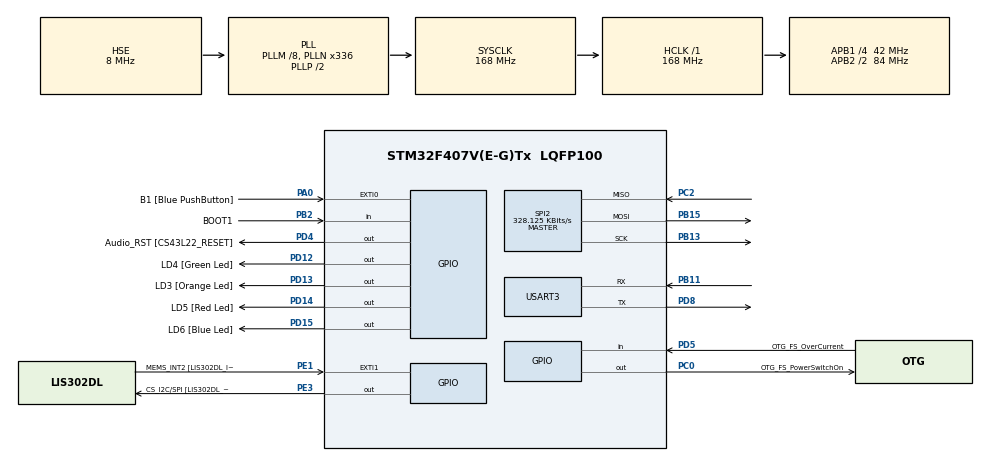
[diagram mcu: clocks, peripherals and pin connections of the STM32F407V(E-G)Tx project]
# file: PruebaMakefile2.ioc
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Dma.Request0=USART3_RX
Dma.Request1=USART3_TX
Dma.USART3_RX.0.Direction=DMA_PERIPH_TO_MEMORY
Dma.USART3_RX.0.FIFOMode=DMA_FIFOMODE_DISABLE
Dma.USART3_RX.0.Instance=DMA1_Stream1
Dma.USART3_RX.0.MemDataAlignment=DMA_MDATAALIGN_BYTE
Dma.USART3_RX.0.MemInc=DMA_MINC_ENABLE
Dma.USART3_RX.0.Mode=DMA_CIRCULAR
Dma.USART3_RX.0.PeriphDataAlignment=DMA_PDATAALIGN_BYTE
Dma.USART3_RX.0.PeriphInc=DMA_PINC_DISABLE
Dma.USART3_RX.0.Priority=DMA_PRIORITY_LOW
Dma.USART3_TX.1.Direction=DMA_MEMORY_TO_PERIPH
Dma.USART3_TX.1.FIFOMode=DMA_FIFOMODE_DISABLE
Dma.USART3_TX.1.Instance=DMA1_Stream3
Dma.USART3_TX.1.MemDataAlignment=DMA_MDATAALIGN_BYTE
Dma.USART3_TX.1.MemInc=DMA_MINC_ENABLE
Dma.USART3_TX.1.Mode=DMA_CIRCULAR
Dma.USART3_TX.1.PeriphDataAlignment=DMA_PDATAALIGN_BYTE
Dma.USART3_TX.1.PeriphInc=DMA_PINC_DISABLE
Dma.USART3_TX.1.Priority=DMA_PRIORITY_LOW
FREERTOS.Tasks01=defaultTask,24,3000,StartDefaultTask,Default,NULL,Static,defaultTaskBuffer,defaultTaskControlBlock
FREERTOS.configENABLE_FPU=1
Mcu.Family=STM32F4
Mcu.Name=STM32F407V(E-G)Tx
Mcu.Package=LQFP100
NVIC.DMA1_Stream1_IRQn=true\:5\:0\:false\:false\:true\:true\:false\:true\:true
NVIC.DMA1_Stream3_IRQn=true\:5\:0\:false\:false\:true\:true\:false\:true\:true
NVIC.PriorityGroup=NVIC_PRIORITYGROUP_4
NVIC.TIM1_UP_TIM10_IRQn=true\:15\:0\:false\:false\:true\:false\:false\:true\:true
NVIC.TimeBase=TIM1_UP_TIM10_IRQn
NVIC.TimeBaseIP=TIM1
NVIC.USART3_IRQn=true\:5\:0\:false\:false\:true\:true\:true\:true\:true
PA0-WKUP.GPIO_Label=B1 [Blue PushButton]
PA0-WKUP.GPIO_ModeDefaultEXTI=GPIO_MODE_EVT_RISING
PA0-WKUP.GPIO_PuPd=GPIO_NOPULL
PA0-WKUP.Signal=GPXTI0
PA10.GPIO_Label=OTG_FS_ID
PA10.GPIO_Mode=GPIO_MODE_AF_PP
PA10.GPIO_PuPd=GPIO_NOPULL
PA10.GPIO_Speed=GPIO_SPEED_FREQ_LOW
PA10.Signal=USB_OTG_FS_ID
PA11.GPIO_Label=OTG_FS_DM
PA11.GPIO_Mode=GPIO_MODE_AF_PP
PA11.GPIO_PuPd=GPIO_NOPULL
PA11.GPIO_Speed=GPIO_SPEED_FREQ_LOW
PA11.Signal=USB_OTG_FS_DM
PA12.GPIO_Label=OTG_FS_DP
PA12.GPIO_Mode=GPIO_MODE_AF_PP
PA12.GPIO_PuPd=GPIO_NOPULL
PA12.GPIO_Speed=GPIO_SPEED_FREQ_LOW
PA12.Signal=USB_OTG_FS_DP
PA13.GPIO_Label=SWDIO
PA13.Mode=Serial_Wire
PA13.Signal=SYS_JTMS-SWDIO
PA14.GPIO_Label=SWCLK
PA14.Mode=Serial_Wire
PA14.Signal=SYS_JTCK-SWCLK
PA4.GPIO_Label=I2S3_WS [CS43L22_LRCK]
PA4.GPIO_Mode=GPIO_MODE_AF_PP
PA4.GPIO_PuPd=GPIO_NOPULL
PA4.GPIO_Speed=GPIO_SPEED_FREQ_LOW
PA4.Signal=I2S3_WS
PA5.GPIO_Label=SPI1_SCK [LIS302DL_SCL/SPC]
PA5.GPIO_Mode=GPIO_MODE_AF_PP
PA5.GPIO_PuPd=GPIO_NOPULL
PA5.GPIO_Speed=GPIO_SPEED_FREQ_LOW
PA5.Signal=SPI1_SCK
PA6.GPIO_Label=SPI1_MISO [LIS302DL_SDO]
PA6.GPIO_Mode=GPIO_MODE_AF_PP
PA6.GPIO_PuPd=GPIO_NOPULL
PA6.GPIO_Speed=GPIO_SPEED_FREQ_LOW
PA6.Signal=SPI1_MISO
PA7.GPIO_Label=SPI1_MOSI [LIS302DL_SDA/SDI/SDO]
PA7.GPIO_Mode=GPIO_MODE_AF_PP
PA7.GPIO_PuPd=GPIO_NOPULL
PA7.GPIO_Speed=GPIO_SPEED_FREQ_LOW
PA7.Signal=SPI1_MOSI
PA9.GPIO_Label=VBUS_FS
PA9.GPIO_Mode=GPIO_MODE_INPUT
PA9.GPIO_PuPd=GPIO_NOPULL
PA9.Signal=USB_OTG_FS_VBUS
PB10.GPIO_Label=CLK_IN [MP45DT02_CLK]
PB10.GPIO_Mode=GPIO_MODE_AF_PP
PB10.GPIO_PuPd=GPIO_NOPULL
PB10.GPIO_Speed=GPIO_SPEED_FREQ_LOW
PB10.Signal=I2S2_CK
PB11.Mode=Asynchronous
PB11.Signal=USART3_RX
PB13.Mode=Full_Duplex_Master
PB13.Signal=SPI2_SCK
PB15.Mode=Full_Duplex_Master
PB15.Signal=SPI2_MOSI
PB2.GPIO_Label=BOOT1
PB2.GPIO_Mode=GPIO_MODE_INPUT
PB2.GPIO_PuPd=GPIO_NOPULL
PB2.Signal=GPIO_Input
PB3.GPIO_Label=SWO
PB3.Signal=SYS_JTDO-SWO
PB6.GPIO_Label=Audio_SCL [CS43L22_SCL]
PB6.GPIO_Mode=GPIO_MODE_AF_OD
PB6.GPIO_Pu=GPIO_PULLUP
PB6.GPIO_PuPd=GPIO_NOPULL
PB6.GPIO_Speed=GPIO_SPEED_FREQ_LOW
PB6.Signal=I2C1_SCL
PB9.GPIO_Label=Audio_SDA [CS43L22_SDA]
PB9.GPIO_Mode=GPIO_MODE_AF_OD
PB9.GPIO_Pu=GPIO_PULLUP
PB9.GPIO_PuPd=GPIO_NOPULL
PB9.GPIO_Speed=GPIO_SPEED_FREQ_LOW
PB9.Signal=I2C1_SDA
PC0.GPIO_Label=OTG_FS_PowerSwitchOn
PC0.GPIO_PuPd=GPIO_NOPULL
PC0.GPIO_Speed=GPIO_SPEED_FREQ_LOW
PC0.PinState=GPIO_PIN_SET
PC0.Signal=GPIO_Output
PC10.GPIO_Label=I2S3_SCK [CS43L22_SCLK]
PC10.GPIO_Mode=GPIO_MODE_AF_PP
PC10.GPIO_PuPd=GPIO_NOPULL
PC10.GPIO_Speed=GPIO_SPEED_FREQ_LOW
PC10.Signal=I2S3_CK
PC12.GPIO_Label=I2S3_SD [CS43L22_SDIN]
PC12.GPIO_Mode=GPIO_MODE_AF_PP
PC12.GPIO_PuPd=GPIO_NOPULL
PC12.GPIO_Speed=GPIO_SPEED_FREQ_LOW
PC12.Signal=I2S3_SD
PC14-OSC32_IN.GPIO_Label=PC14-OSC32_IN
PC14-OSC32_IN.Signal=RCC_OSC32_IN
PC15-OSC32_OUT.GPIO_Label=PC15-OSC32_OUT
PC15-OSC32_OUT.Signal=RCC_OSC32_OUT
PC2.Mode=Full_Duplex_Master
PC2.Signal=SPI2_MISO
PC3.GPIO_Label=PDM_OUT [MP45DT02_DOUT]
PC3.GPIO_Mode=GPIO_MODE_AF_PP
PC3.GPIO_PuPd=GPIO_NOPULL
PC3.GPIO_Speed=GPIO_SPEED_FREQ_LOW
PC3.Signal=I2S2_SD
PC7.GPIO_Label=I2S3_MCK [CS43L22_MCLK]
PC7.GPIO_Mode=GPIO_MODE_AF_PP
PC7.GPIO_PuPd=GPIO_NOPULL
PC7.GPIO_Speed=GPIO_SPEED_FREQ_LOW
PC7.Signal=I2S3_MCK
PD12.GPIO_Label=LD4 [Green Led]
PD12.GPIO_PuPd=GPIO_NOPULL
PD12.GPIO_Speed=GPIO_SPEED_FREQ_LOW
PD12.Signal=GPIO_Output
PD13.GPIO_Label=LD3 [Orange Led]
PD13.GPIO_PuPd=GPIO_NOPULL
PD13.GPIO_Speed=GPIO_SPEED_FREQ_LOW
PD13.Signal=GPIO_Output
PD14.GPIO_Label=LD5 [Red Led]
PD14.GPIO_PuPd=GPIO_NOPULL
PD14.GPIO_Speed=GPIO_SPEED_FREQ_LOW
PD14.Signal=GPIO_Output
PD15.GPIO_Label=LD6 [Blue Led]
PD15.GPIO_PuPd=GPIO_NOPULL
PD15.GPIO_Speed=GPIO_SPEED_FREQ_LOW
PD15.Signal=GPIO_Output
PD4.GPIO_Label=Audio_RST [CS43L22_RESET]
PD4.GPIO_PuPd=GPIO_NOPULL
PD4.GPIO_Speed=GPIO_SPEED_FREQ_LOW
PD4.Signal=GPIO_Output
PD5.GPIO_Label=OTG_FS_OverCurrent
PD5.GPIO_Mode=GPIO_MODE_INPUT
PD5.GPIO_PuPd=GPIO_NOPULL
PD5.Signal=GPIO_Input
PD8.Mode=Asynchronous
PD8.Signal=USART3_TX
PE1.GPIO_Label=MEMS_INT2 [LIS302DL_INT2]
PE1.GPIO_ModeDefaultEXTI=GPIO_MODE_EVT_RISING
PE1.GPIO_PuPd=GPIO_NOPULL
PE1.Signal=GPXTI1
PE3.GPIO_Label=CS_I2C/SPI [LIS302DL_CS_I2C/SPI]
PE3.GPIO_PuPd=GPIO_NOPULL
PE3.GPIO_Speed=GPIO_SPEED_FREQ_LOW
PE3.Signal=GPIO_Output
PH0-OSC_IN.GPIO_Label=PH0-OSC_IN
PH0-OSC_IN.Mode=HSE-External-Oscillator
PH0-OSC_IN.Signal=RCC_OSC_IN
PH1-OSC_OUT.GPIO_Label=PH1-OSC_OUT
PH1-OSC_OUT.Mode=HSE-External-Oscillator
PH1-OSC_OUT.Signal=RCC_OSC_OUT
ProjectManager.HeapSize=0x200
ProjectManager.StackSize=0x400
ProjectManager.TargetToolchain=Makefile
RCC.48MHZClocksFreq_Value=48000000
RCC.AHBFreq_Value=168000000
RCC.APB1CLKDivider=RCC_HCLK_DIV4
RCC.APB1Freq_Value=42000000
RCC.APB1TimFreq_Value=84000000
RCC.APB2CLKDivider=RCC_HCLK_DIV2
RCC.APB2Freq_Value=84000000
RCC.APB2TimFreq_Value=168000000
RCC.CortexFreq_Value=168000000
RCC.HCLKFreq_Value=168000000
RCC.HSE_VALUE=8000000
RCC.HSI_VALUE=16000000
RCC.PLLM=8
RCC.PLLN=336
RCC.PLLQ=7
RCC.PLLSourceVirtual=RCC_PLLSOURCE_HSE
RCC.SYSCLKFreq_VALUE=168000000
RCC.SYSCLKSource=RCC_SYSCLKSOURCE_PLLCLK
RCC.VCOOutputFreq_Value=336000000
SPI2.BaudRatePrescaler=SPI_BAUDRATEPRESCALER_128
SPI2.CalculateBaudRate=328.125 KBits/s
SPI2.Direction=SPI_DIRECTION_2LINES
SPI2.Mode=SPI_MODE_MASTER
SPI2.VirtualType=VM_MASTER
USART3.VirtualMode=VM_ASYNC
VP_FREERTOS_VS_CMSIS_V2.Mode=CMSIS_V2
VP_SYS_VS_tim1.Mode=TIM1
board=STM32F407G-DISC1

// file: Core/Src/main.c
/* USER CODE BEGIN Header */
/**
  ******************************************************************************
  * @file           : main.c
  * @brief          : Main program body
  ******************************************************************************
  * @attention
  *
  * Copyright (c) 2022 STMicroelectronics.
  * All rights reserved.
  *
  * This software is licensed under terms that can be found in the LICENSE file
  * in the root directory of this software component.
  * If no LICENSE file comes with this software, it is provided AS-IS.
  *
  ******************************************************************************
  */
/* USER CODE END Header */
#include "main.h"
#include "cmsis_os.h"
#include "dma.h"
#include "spi.h"
#include "usart.h"
#include "gpio.h"
#include "MPU9250.h"

/* USER CODE BEGIN Includes */
#include <rcl/rcl.h>
#include <rcl/error_handling.h>
#include <rclc/rclc.h>
#include <rclc/executor.h>
#include <uxr/client/transport.h>
#include <rmw_microxrcedds_c/config.h>
#include <rmw_microros/rmw_microros.h>

#include <std_msgs/msg/int32.h>
#include "math.h"

/* USER CODE END Includes */

/* USER CODE BEGIN PTD */
typedef StaticTask_t osStaticThreadDef_t;

/* USER CODE END PTD */

/* USER CODE BEGIN PD */
#define RAD_TO_DEG 57.2957786
/* USER CODE END PD */

osThreadId_t defaultTaskHandle;
uint32_t defaultTaskBuffer[ 3000 ];
osStaticThreadDef_t defaultTaskControlBlock;
const osThreadAttr_t defaultTask_attributes = {
  .name = "defaultTask",
  .cb_mem = &defaultTaskControlBlock,
  .cb_size = sizeof(defaultTaskControlBlock),
  .stack_mem = &defaultTaskBuffer[0],
  .stack_size = sizeof(defaultTaskBuffer),
  .priority = (osPriority_t) osPriorityRealtime,
};

osThreadId_t KalmanTaskHandle;
uint32_t KalmanTaskBuffer[ 3000 ];
osStaticThreadDef_t KalmanTaskControlBlock;
const osThreadAttr_t KalmanTask_attributes = {
  .name = "KalmanTask",
  .cb_mem = &KalmanTaskControlBlock,
  .cb_size = sizeof(KalmanTaskControlBlock),
  .stack_mem = &KalmanTaskBuffer[0],
  .stack_size = sizeof(KalmanTaskBuffer),
  .priority = (osPriority_t) osPriorityRealtime,
};

float angle_pitch = 0.0f; // Reset the angle
float angle_roll = 0.0f; // Reset the angle
float bias_pitch = 0.0f; // Reset bias
float bias_roll = 0.0f; // Reset bias

/* USER CODE END PV */

void SystemClock_Config(void);
//void MX_FREERTOS_Init(void);
/* USER CODE BEGIN PFP */

// Tasks
void StartDefaultTask(void *argument);
void KalmanTask(void *argument);

bool cubemx_transport_open(struct uxrCustomTransport * transport);
bool cubemx_transport_close(struct uxrCustomTransport * transport);
size_t cubemx_transport_write(struct uxrCustomTransport* transport, const uint8_t * buf, size_t len, uint8_t * err);
size_t cubemx_transport_read(struct uxrCustomTransport* transport, uint8_t* buf, size_t len, int timeout, uint8_t* err);

void * microros_allocate(size_t size, void * state);
void microros_deallocate(void * pointer, void * state);
void * microros_reallocate(void * pointer, size_t size, void * state);
void * microros_zero_allocate(size_t number_of_elements, size_t size_of_element, void * state);
/* USER CODE END PFP */

int main(void)
	{

  /* MCU Configuration--------------------------------------------------------*/

  /* Reset of all peripherals, Initializes the Flash interface and the Systick. */
  HAL_Init();

  /* Configure the system clock */
  SystemClock_Config();

  /* Initialize all configured peripherals */
  MX_GPIO_Init();
  MX_DMA_Init();
  MX_USART3_UART_Init();
  MX_SPI2_Init();
  /* USER CODE BEGIN 2 */

  MPU9250_Init();
  /* USER CODE END 2 */

  /* Init scheduler */
  osKernelInitialize();  /* Call init function for freertos objects (in freertos.c) */
  //MX_FREERTOS_Init();
  defaultTaskHandle = osThreadNew(StartDefaultTask, NULL, &defaultTask_attributes);
  //KalmanTaskHandle = osThreadNew(KalmanTask, NULL, &KalmanTask_attributes);

  /* Start scheduler */
  osKernelStart();

  /* We should never get here as control is now taken by the scheduler */
  /* Infinite loop */
  while (1)
  {

  }
}

void StartDefaultTask(void *argument)
{

  /* USER CODE BEGIN StartDefaultTask */
  rmw_uros_set_custom_transport(
    true,
    (void *) &huart3,
    cubemx_transport_open,
    cubemx_transport_close,
    cubemx_transport_write,
    cubemx_transport_read);

  //int return_ping = (RMW_RET_OK == rmw_uros_ping_agent(1, 10));

  rcl_allocator_t freeRTOS_allocator = rcutils_get_zero_initialized_allocator();
  freeRTOS_allocator.allocate = microros_allocate;
  freeRTOS_allocator.deallocate = microros_deallocate;
  freeRTOS_allocator.reallocate = microros_reallocate;
  freeRTOS_allocator.zero_allocate =  microros_zero_allocate;

  if (!rcutils_set_default_allocator(&freeRTOS_allocator)) {
      printf("Error on default allocators (line %d)\n", __LINE__);
  }

  // micro-ROS app

  rcl_publisher_t publisher;
  std_msgs__msg__Int32 msg;
  rclc_support_t support;
  rcl_allocator_t allocator;
  rcl_node_t node;

  allocator = rcl_get_default_allocator();

  //create init_options
  rclc_support_init(&support, 0, NULL, &allocator);

  // create node
  rclc_node_init_default(&node, "cubemx_node", "", &support);

  // create publisher
  rclc_publisher_init_default(
    &publisher,
    &node,
    ROSIDL_GET_MSG_TYPE_SUPPORT(std_msgs, msg, Int32),
    "cubemx_publisher");

  msg.data = 0;

  for(;;)
  {
    rcl_ret_t ret = rcl_publish(&publisher, &msg, NULL);
    if (ret != RCL_RET_OK)
    {
      printf("Error publishing (line %d)\n", __LINE__);
    }

    msg.data++;
    osDelay(10);
  }
  /* USER CODE END StartDefaultTask */
}

void KalmanTask(void *argument)
{
  // Kalman Initialization
  float Q_angle = 0.001f;
  float Q_bias = 0.003f;
  float R_measure = 0.03f;

  angle_pitch = 0.0f; // Reset the angle
  angle_roll = 0.0f; // Reset the angle
  bias_pitch = 0.0f; // Reset bias
  bias_roll = 0.0f; // Reset bias
  float rate_pitch;
  float rate_roll;

  float P_pitch[2][2]; // Error covariance matrix - This is a 2x2 matrix
  P_pitch[0][0] = 0.0f; // Since we assume that the bias is 0 and we know the starting angle (use setAngle), the error covariance matrix is set like so - see: http://en.wikipedia.org/wiki/Kalman_filter#Example_application.2C_technical
  P_pitch[0][1] = 0.0f;
  P_pitch[1][0] = 0.0f;
  P_pitch[1][1] = 0.0f;

  float P_roll[2][2]; // Error covariance matrix - This is a 2x2 matrix
  P_roll[0][0] = 0.0f; // Since we assume that the bias is 0 and we know the starting angle (use setAngle), the error covariance matrix is set like so - see: http://en.wikipedia.org/wiki/Kalman_filter#Example_application.2C_technical
  P_roll[0][1] = 0.0f;
  P_roll[1][0] = 0.0f;
  P_roll[1][1] = 0.0f;

  int16_t AccData[3], GyroData[3], MagData[3];
  float dt = 0.01f; // FIXME: delta_t from ticks?

  MPU9250_GetData(AccData, GyroData, MagData);
  MPU9250_GetData(AccData, GyroData, MagData);

  for (;;)
    {

      MPU9250_GetData(AccData, GyroData, MagData);

      // FIXME: Obtener angulos de pitch y roll

      //HAL_GPIO_TogglePin(GPIOD, LD4_Pin|LD3_Pin|LD5_Pin|LD6_Pin);

      double roll  = atan2(AccData[1], AccData[2]) * RAD_TO_DEG;
      double pitch = atan(-AccData[0] / sqrt(AccData[1] * AccData[1] + AccData[2] * AccData[2])) * RAD_TO_DEG;

      // Discrete Kalman filter time update equations - Time Update ("Predict")
      // Update xhat - Project the state ahead
      /* Step 1 */
      rate_pitch = (GyroData[0]/131.0) - bias_pitch; // Warning: harcoded constant gyro config dependent
      rate_roll = (GyroData[1]/131.0) - bias_roll;   // Warning: harcoded constant gyro config dependent
      angle_pitch += dt * rate_pitch;
      angle_roll += dt * rate_roll;

      // Update estimation error covariance - Project the error covariance ahead
      /* Step 2 */
      P_pitch[0][0] += dt * (dt*P_pitch[1][1] - P_pitch[0][1] - P_pitch[1][0] + Q_angle);
      P_pitch[0][1] -= dt * P_pitch[1][1];
      P_pitch[1][0] -= dt * P_pitch[1][1];
      P_pitch[1][1] += Q_bias * dt;

      P_roll[0][0] += dt * (dt*P_roll[1][1] - P_roll[0][1] - P_roll[1][0] + Q_angle);
      P_roll[0][1] -= dt * P_roll[1][1];
      P_roll[1][0] -= dt * P_roll[1][1];
      P_roll[1][1] += Q_bias * dt;

      // Discrete Kalman filter measurement update equations - Measurement Update ("Correct")
      // Calculate Kalman gain - Compute the Kalman gain
      /* Step 4 */
      float S_pitch = P_pitch[0][0] + R_measure; // Estimate error
      float S_roll = P_roll[0][0] + R_measure; // Estimate error
      /* Step 5 */
      float K_pitch[2]; // Kalman gain - This is a 2x1 vector
      K_pitch[0] = P_pitch[0][0] / S_pitch;
      K_pitch[1] = P_pitch[1][0] / S_pitch;

      float K_roll[2]; // Kalman gain - This is a 2x1 vector
      K_roll[0] = P_roll[0][0] / S_roll;
      K_roll[1] = P_roll[1][0] / S_roll;

      // Calculate angle and bias - Update estimate with measurement zk (newAngle)
      /* Step 3 */
      float y_pitch = pitch - angle_pitch; // Angle difference
      float y_roll  = roll - angle_roll; // Angle difference
      /* Step 6 */
      angle_pitch += K_pitch[0] * y_pitch;
      bias_pitch += K_pitch[1] * y_pitch;
      angle_roll += K_roll[0] * y_roll;
      bias_roll += K_roll[1] * y_roll;

      // Calculate estimation error covariance - Update the error covariance
      /* Step 7 */
      float P00_temp_pitch = P_pitch[0][0];
      float P01_temp_pitch = P_pitch[0][1];

      float P00_temp_roll = P_roll[0][0];
      float P01_temp_roll = P_roll[0][1];

      P_pitch[0][0] -= K_pitch[0] * P00_temp_pitch;
      P_pitch[0][1] -= K_pitch[0] * P01_temp_pitch;
      P_pitch[1][0] -= K_pitch[1] * P00_temp_pitch;
      P_pitch[1][1] -= K_pitch[1] * P01_temp_pitch;

      P_roll[0][0] -= K_roll[0] * P00_temp_roll;
      P_roll[0][1] -= K_roll[0] * P01_temp_roll;
      P_roll[1][0] -= K_roll[1] * P00_temp_roll;
      P_roll[1][1] -= K_roll[1] * P01_temp_roll;

      osDelayUntil(10);
    }
}

void SystemClock_Config(void)
{
  RCC_OscInitTypeDef RCC_OscInitStruct = {0};
  RCC_ClkInitTypeDef RCC_ClkInitStruct = {0};

  /** Configure the main internal regulator output voltage
  */
  __HAL_RCC_PWR_CLK_ENABLE();
  __HAL_PWR_VOLTAGESCALING_CONFIG(PWR_REGULATOR_VOLTAGE_SCALE1);

  /** Initializes the RCC Oscillators according to the specified parameters
  * in the RCC_OscInitTypeDef structure.
  */
  RCC_OscInitStruct.OscillatorType = RCC_OSCILLATORTYPE_HSE;
  RCC_OscInitStruct.HSEState = RCC_HSE_ON;
  RCC_OscInitStruct.PLL.PLLState = RCC_PLL_ON;
  RCC_OscInitStruct.PLL.PLLSource = RCC_PLLSOURCE_HSE;
  RCC_OscInitStruct.PLL.PLLM = 8;
  RCC_OscInitStruct.PLL.PLLN = 336;
  RCC_OscInitStruct.PLL.PLLP = RCC_PLLP_DIV2;
  RCC_OscInitStruct.PLL.PLLQ = 7;
  if (HAL_RCC_OscConfig(&RCC_OscInitStruct) != HAL_OK)
  {
    Error_Handler();
  }

  /** Initializes the CPU, AHB and APB buses clocks
  */
  RCC_ClkInitStruct.ClockType = RCC_CLOCKTYPE_HCLK|RCC_CLOCKTYPE_SYSCLK
                              |RCC_CLOCKTYPE_PCLK1|RCC_CLOCKTYPE_PCLK2;
  RCC_ClkInitStruct.SYSCLKSource = RCC_SYSCLKSOURCE_PLLCLK;
  RCC_ClkInitStruct.AHBCLKDivider = RCC_SYSCLK_DIV1;
  RCC_ClkInitStruct.APB1CLKDivider = RCC_HCLK_DIV4;
  RCC_ClkInitStruct.APB2CLKDivider = RCC_HCLK_DIV2;

  if (HAL_RCC_ClockConfig(&RCC_ClkInitStruct, FLASH_LATENCY_5) != HAL_OK)
  {
    Error_Handler();
  }
}

void HAL_TIM_PeriodElapsedCallback(TIM_HandleTypeDef *htim)
{
  if (htim->Instance == TIM1) {
    HAL_IncTick();
  }
}

void Error_Handler(void)
{
  __disable_irq();
  while (1)
  {
  }
}

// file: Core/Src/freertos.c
/* USER CODE BEGIN Header */
/**
  ******************************************************************************
  * File Name          : freertos.c
  * Description        : Code for freertos applications
  ******************************************************************************
  * @attention
  *
  * Copyright (c) 2022 STMicroelectronics.
  * All rights reserved.
  *
  * This software is licensed under terms that can be found in the LICENSE file
  * in the root directory of this software component.
  * If no LICENSE file comes with this software, it is provided AS-IS.
  *
  ******************************************************************************
  */
/* USER CODE END Header */

#include "FreeRTOS.h"
#include "task.h"
#include "main.h"
#include "cmsis_os.h"
#include "usart.h"
#include "gpio.h"

/* USER CODE BEGIN Includes */
#include <rcl/rcl.h>
#include <rcl/error_handling.h>
#include <rclc/rclc.h>
#include <rclc/executor.h>
#include <uxr/client/transport.h>
#include <rmw_microxrcedds_c/config.h>
#include <rmw_microros/rmw_microros.h>

#include <std_msgs/msg/int32.h>

/* USER CODE END Includes */

typedef StaticTask_t osStaticThreadDef_t;

/* Definitions for defaultTask */
osThreadId_t defaultTaskHandle;
uint32_t defaultTaskBuffer[ 3000 ];
osStaticThreadDef_t defaultTaskControlBlock;
const osThreadAttr_t defaultTask_attributes = {
  .name = "defaultTask",
  .cb_mem = &defaultTaskControlBlock,
  .cb_size = sizeof(defaultTaskControlBlock),
  .stack_mem = &defaultTaskBuffer[0],
  .stack_size = sizeof(defaultTaskBuffer),
  .priority = (osPriority_t) osPriorityRealtime,
};

void StartDefaultTask(void *argument);

void MX_FREERTOS_Init(void); /* (MISRA C 2004 rule 8.1) */

void MX_FREERTOS_Init(void) {

  /* Create the thread(s) */
  /* creation of defaultTask */
  defaultTaskHandle = osThreadNew(StartDefaultTask, NULL, &defaultTask_attributes);

}

bool cubemx_transport_open(struct uxrCustomTransport * transport);
bool cubemx_transport_close(struct uxrCustomTransport * transport);
size_t cubemx_transport_write(struct uxrCustomTransport* transport, const uint8_t * buf, size_t len, uint8_t * err);
size_t cubemx_transport_read(struct uxrCustomTransport* transport, uint8_t* buf, size_t len, int timeout, uint8_t* err);

void * microros_allocate(size_t size, void * state);
void microros_deallocate(void * pointer, void * state);
void * microros_reallocate(void * pointer, size_t size, void * state);
void * microros_zero_allocate(size_t number_of_elements, size_t size_of_element, void * state);

void StartDefaultTask(void *argument)
{

  /* USER CODE BEGIN StartDefaultTask */
    rmw_uros_set_custom_transport(
    true,
    (void *) &huart3,
    cubemx_transport_open,
    cubemx_transport_close,
    cubemx_transport_write,
    cubemx_transport_read);

  rcl_allocator_t freeRTOS_allocator = rcutils_get_zero_initialized_allocator();
  freeRTOS_allocator.allocate = microros_allocate;
  freeRTOS_allocator.deallocate = microros_deallocate;
  freeRTOS_allocator.reallocate = microros_reallocate;
  freeRTOS_allocator.zero_allocate =  microros_zero_allocate;

  if (!rcutils_set_default_allocator(&freeRTOS_allocator)) {
      printf("Error on default allocators (line %d)\n", __LINE__);
  }

  // micro-ROS app

  rcl_publisher_t publisher;
  std_msgs__msg__Int32 msg;
  rclc_support_t support;
  rcl_allocator_t allocator;
  rcl_node_t node;

  allocator = rcl_get_default_allocator();

  //HAL_GPIO_TogglePin(GPIOD, LD4_Pin|LD3_Pin|LD5_Pin|LD6_Pin);
  //create init_options
  rclc_support_init(&support, 0, NULL, &allocator);

  // create node
  rclc_node_init_default(&node, "cubemx_node", "", &support);

  // create publisher
  rclc_publisher_init_default(
    &publisher,
    &node,
    ROSIDL_GET_MSG_TYPE_SUPPORT(std_msgs, msg, Int32),
    "cubemx_publisher");

  msg.data = 0;

  /* Infinite loop */
  for(;;)
  {
    rcl_ret_t ret = rcl_publish(&publisher, &msg, NULL);
    if (ret != RCL_RET_OK)
      printf("Error publishing (line %d)\n", __LINE__);

    //msg.data++;
    HAL_GPIO_TogglePin(GPIOD, LD4_Pin|LD3_Pin|LD5_Pin|LD6_Pin);

    osDelay(1000);
  }
  /* USER CODE END StartDefaultTask */
}
